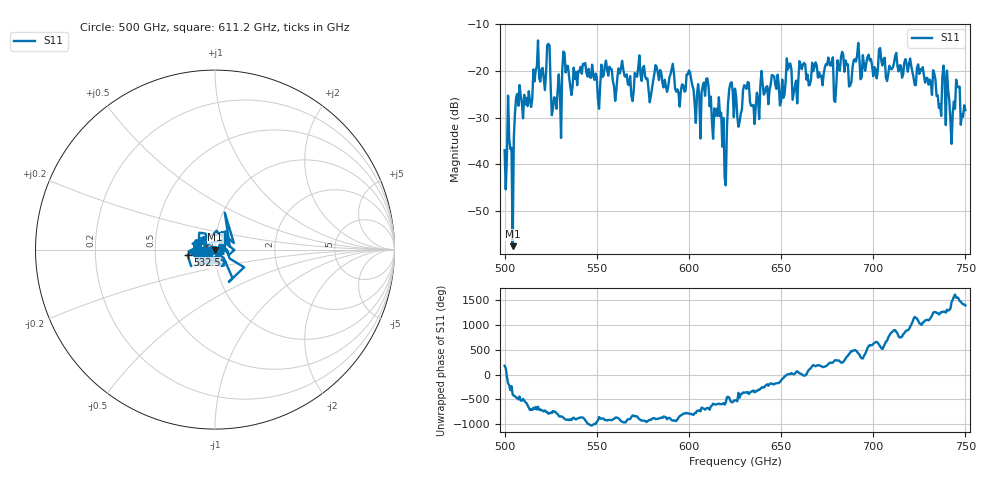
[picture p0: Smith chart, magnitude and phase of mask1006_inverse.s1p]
!Created with skrf (http://scikit-rf.org).
# GHz S MA R 50.0
!freq magS11 angS11
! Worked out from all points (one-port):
!   401 points, 500 GHz to 750 GHz, reference 50 ohm
!   lowest |S11| = -57.6 dB at 504.4 GHz (marker M1), VSWR 1.00, Z = 50.1 - j0.0855 ohm
!   |S11| at or under -10 dB: start of sweep to end of sweep
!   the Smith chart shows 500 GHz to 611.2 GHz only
!   S11 on the Smith chart (normalised r, x): 500 GHz: 0.97, +0.00; 532.5 GHz: 0.73, -0.04; 611.2 GHz: 1.08, +0.02
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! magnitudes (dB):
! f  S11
! 500 GHz  -37.0
! 502.5 GHz  -34.6
! 504.4 GHz  -57.6
! 506.9 GHz  -24.9
! 513.8 GHz  -26.4
! 516.9 GHz  -19.8
! 523.8 GHz  -14.2
! 526.9 GHz  -25.6
! 531.2 GHz  -20.0
! 532.5 GHz  -16.1
! 550.6 GHz  -26.0
! 562.5 GHz  -20.5
! 579.4 GHz  -25.3
! 590.6 GHz  -19.6
! 593.8 GHz  -23.9
! 600 GHz  -19.9
! 605 GHz  -22.8
! 611.2 GHz  -27.6
! 617.5 GHz  -28.9
! 619.4 GHz  -42.9
! 622.5 GHz  -22.7
! 625 GHz  -23.8
! 656.2 GHz  -26.2
! 683.8 GHz  -16.6
! 687.5 GHz  -23.1
! 691.2 GHz  -16.7
! 718.8 GHz  -20.1
! 750 GHz  -28.4
